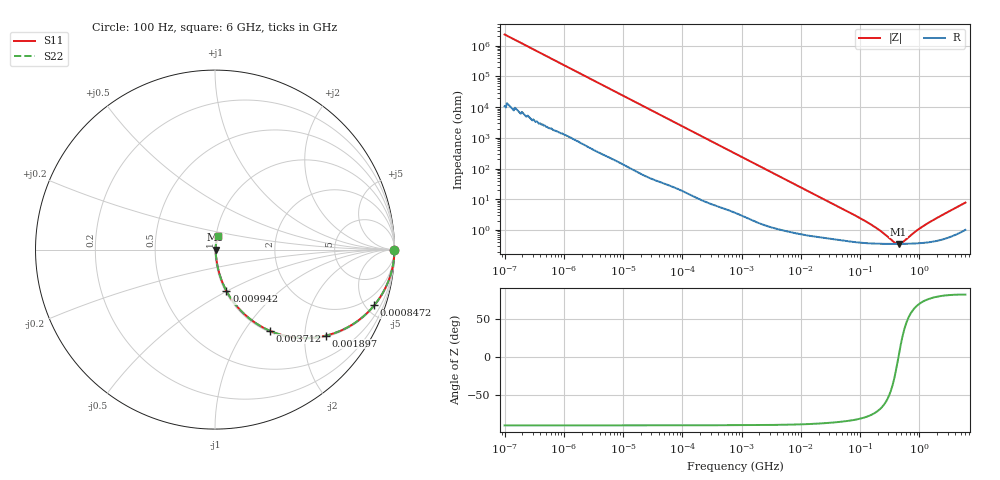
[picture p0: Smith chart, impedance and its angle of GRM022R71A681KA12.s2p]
!Murata Part Number: GRM022R71A681KA12
!These Parameters are Measured in Series Mode Connection
!Data Generated on Mar 30, 2021
!  o--ll--o
!Port1  Port2
!  o------o
!Operation Temp=25[degC], DC Bias Voltage=0[V]
!Freq. Start=100[Hz] Stop=6[GHz] 401[Steps]
# Hz S RI R 50
!Freq.(Hz) S11(Real) S11(Imag) S21(Real) S21(Imag) S12(Real) S12(Imag) S22(Real) S22(Imag)
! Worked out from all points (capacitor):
!   401 points, 100 Hz to 6 GHz, reference 50 ohm
!   read as one part in series: C = 683 pF near 109 Hz
!   lowest |Z| = 355 mohm at 447 MHz (marker M1)
!   series resonance near 444.1 MHz, so ESL is about 190 pH
!   S11 on the Smith chart (normalised r, x): 100 Hz: open; 847.2 kHz: 1.07, -5.70; 1.897 MHz: 1.03, -2.56; 3.712 MHz: 1.02, -1.31; 9.942 MHz: 1.01, -0.49; 6 GHz: 1.02, +0.16
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100  1 -4.3e-05  2e-07 4.3e-05  2e-07 4.3e-05  1 -4.3e-05
245  1 -0.000105  6e-07 0.000105  6e-07 0.000105  1 -0.000105
2008  1 -0.000854  5.5e-06 0.000854  5.5e-06 0.000854  1 -0.000854
40335  0.9996 -0.017  0.000396 0.017  0.000396 0.017  0.9996 -0.017
231233  0.99 -0.0954  0.01 0.0954  0.01 0.0954  0.99 -0.0954
774597  0.9038 -0.289  0.0962 0.289  0.0962 0.289  0.9038 -0.289
847162  0.8875 -0.31  0.1125 0.31  0.1125 0.31  0.8875 -0.31
1896632  0.6197 -0.4788  0.3803 0.4788  0.3803 0.4788  0.6197 -0.4788
3712478  0.3044 -0.4517  0.6956 0.4517  0.6956 0.4517  0.3044 -0.4517
5809218  0.1559 -0.3521  0.8441 0.3521  0.8441 0.3521  0.1559 -0.3521
9941735  0.0636 -0.2296  0.9364 0.2296  0.9364 0.2296  0.0636 -0.2296
1.555665e7  0.0303 -0.1526  0.9697 0.1526  0.9697 0.1526  0.0303 -0.1526
3.64232e7  0.00957 -0.0672  0.9904 0.0672  0.9904 0.0672  0.00957 -0.0672
1.220122e8  0.00413 -0.0192  0.9959 0.0192  0.9959 0.0192  0.00413 -0.0192
2.088084e8  0.00367 -0.00948  0.9963 0.00948  0.9963 0.00948  0.00367 -0.00948
3.124326e8  0.00355 -0.00411  0.9964 0.00411  0.9964 0.00411  0.00355 -0.00411
3.908258e8  0.00353 -0.00147  0.9965 0.00147  0.9965 0.00147  0.00353 -0.00147
4.470121e8  0.00354 7.69e-05  0.9965 -7.69e-05  0.9965 -7.69e-05  0.00354 7.69e-05
5.346885e8  0.00356 0.00214  0.9964 -0.00214  0.9964 -0.00214  0.00356 0.00214
8.749838e8  0.00373 0.00838  0.9963 -0.00838  0.9963 -0.00838  0.00373 0.00838
1.369159e9  0.00419 0.0158  0.9958 -0.0158  0.9958 -0.0158  0.00419 0.0158
6e9  0.0159 0.0757  0.9841 -0.0757  0.9841 -0.0757  0.0159 0.0757
